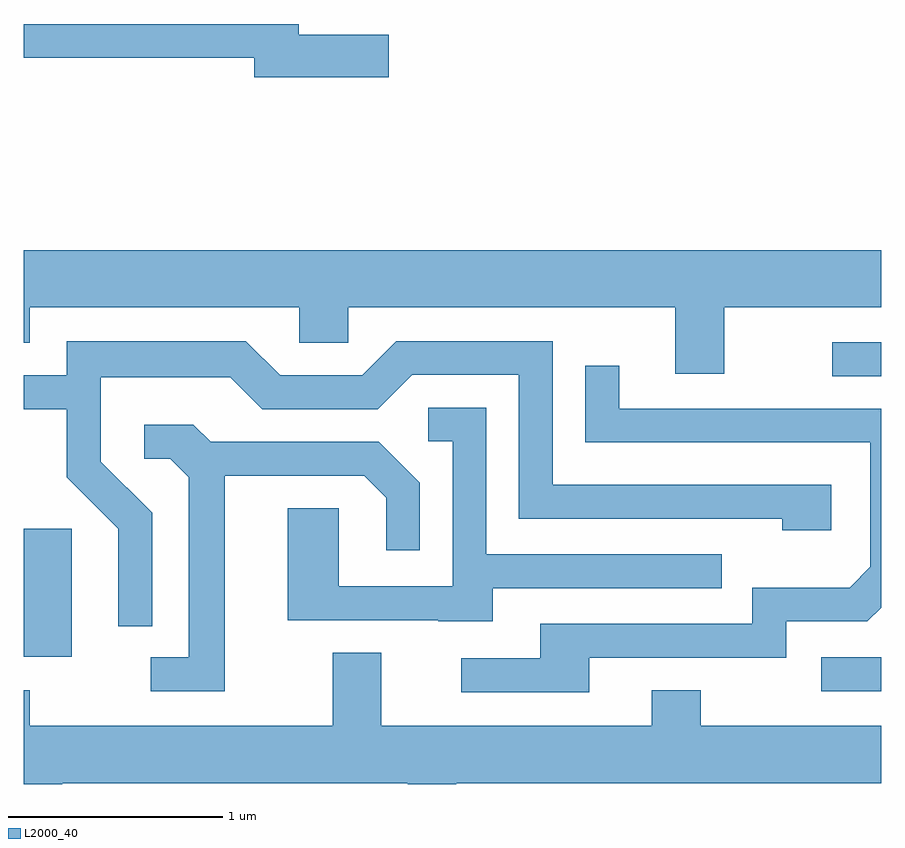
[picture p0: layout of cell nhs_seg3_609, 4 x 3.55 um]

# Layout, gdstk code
import gdstk
lib = gdstk.Library(unit=1e-6, precision=1e-09)
def R(c, l, rs):  # rectangles x0, y0, x1, y1
    for r in rs: c.add(gdstk.rectangle(r[:2], r[2:], *l))
def P(c, l, *ps):  # polygons
    for p in ps: c.add(gdstk.Polygon(p, *l))
L2000_40 = (2000, 40)

nhs_seg3_609 = lib.new_cell('nhs_seg3_609')
R(nhs_seg3_609, L2000_40, [(205.333,1246.326,205.611,1246.484), (201.611,1246.486,201.834,1247.084), (205.383,1247.796,205.611,1247.954)])
P(nhs_seg3_609, L2000_40, [(203.314,1249.389),(202.894,1249.389),(202.894,1249.439),(201.611,1249.439),(201.611,1249.281),(202.686,1249.281),(202.686,1249.191),(203.314,1249.191)],
  [(204.879,1248.116),(205.611,1248.116),(205.611,1248.384),(201.611,1248.384),(201.611,1247.951),(201.639,1247.951),(201.639,1248.116),(202.896,1248.116),(202.896,1247.951),(203.124,1247.951),(203.124,1248.116),(204.651,1248.116),(204.651,1247.806),(204.879,1247.806)],
  [(202.209,1247.157),(201.969,1247.397),(201.969,1247.791),(202.574,1247.791),(202.724,1247.641),(203.262,1247.641),(203.422,1247.801),(203.921,1247.801),(203.921,1247.131),(205.151,1247.131),(205.151,1247.076),(205.379,1247.076),(205.379,1247.289),(204.079,1247.289),(204.079,1247.959),(203.349,1247.959),(203.189,1247.799),(202.807,1247.799),(202.647,1247.959),(201.811,1247.959),(201.811,1247.799),(201.611,1247.799),(201.611,1247.641),(201.811,1247.641),(201.811,1247.324),(202.051,1247.084),(202.051,1246.628),(202.209,1246.628)],
  [(204.249,1246.481),(205.169,1246.481),(205.169,1246.651),(205.547,1246.651),(205.611,1246.715),(205.611,1247.644),(204.389,1247.644),(204.389,1247.843),(204.231,1247.843),(204.231,1247.486),(205.561,1247.486),(205.561,1246.907),(205.464,1246.809),(205.011,1246.809),(205.011,1246.639),(204.021,1246.639),(204.021,1246.479),(203.653,1246.479),(203.653,1246.321),(204.249,1246.321)],
  [(203.799,1246.806),(204.868,1246.806),(204.868,1246.964),(203.769,1246.964),(203.769,1247.649),(203.498,1247.649),(203.498,1247.491),(203.611,1247.491),(203.611,1246.814),(203.079,1246.814),(203.079,1247.179),(202.841,1247.179),(202.841,1246.656),(203.545,1246.656),(203.545,1246.651),(203.799,1246.651)],
  [(202.549,1247.331),(203.199,1247.331),(203.301,1247.229),(203.301,1246.983),(203.459,1246.983),(203.459,1247.297),(203.267,1247.489),(202.482,1247.489),(202.402,1247.569),(202.173,1247.569),(202.173,1247.411),(202.294,1247.411),(202.381,1247.324),(202.381,1246.484),(202.203,1246.484),(202.203,1246.326),(202.549,1246.326)],
  [(201.789,1245.896),(203.401,1245.896),(203.401,1245.892),(203.629,1245.892),(203.629,1245.896),(205.611,1245.896),(205.611,1246.164),(204.769,1246.164),(204.769,1246.329),(204.541,1246.329),(204.541,1246.164),(203.279,1246.164),(203.279,1246.504),(203.051,1246.504),(203.051,1246.164),(201.639,1246.164),(201.639,1246.329),(201.611,1246.329),(201.611,1245.892),(201.789,1245.892)])

lib.write_gds('nhs_seg3_609.gds')
